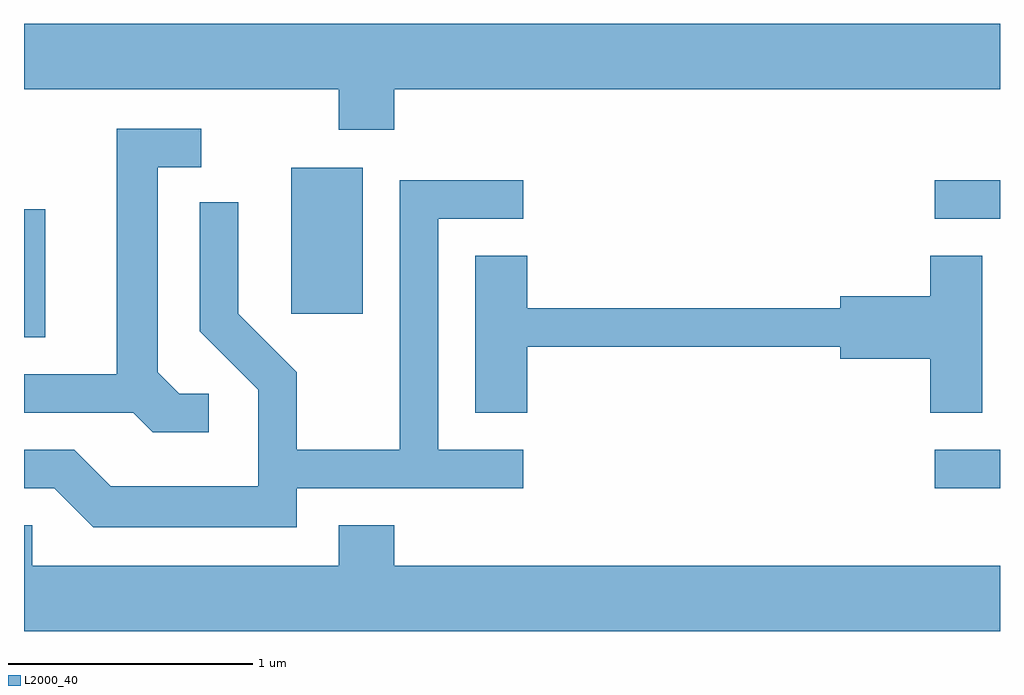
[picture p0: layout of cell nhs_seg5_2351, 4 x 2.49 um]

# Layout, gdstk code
import gdstk
lib = gdstk.Library(unit=1e-6, precision=1e-09)
def R(c, l, rs):  # rectangles x0, y0, x1, y1
    for r in rs: c.add(gdstk.rectangle(r[:2], r[2:], *l))
def P(c, l, *ps):  # polygons
    for p in ps: c.add(gdstk.Polygon(p, *l))
L2000_40 = (2000, 40)

nhs_seg5_2351 = lib.new_cell('nhs_seg5_2351')
R(nhs_seg5_2351, L2000_40, [(259.343,1412.981,259.611,1413.139), (255.611,1413.601,255.699,1414.124), (256.706,1413.696,256.999,1414.294), (259.343,1414.086,259.611,1414.244)])
P(nhs_seg5_2351, L2000_40, [(257.129,1414.616),(259.611,1414.616),(259.611,1414.884),(255.611,1414.884),(255.611,1414.616),(256.901,1414.616),(256.901,1414.451),(257.129,1414.451)],
  [(256.368,1413.369),(256.247,1413.369),(256.159,1413.457),(256.159,1414.296),(256.337,1414.296),(256.337,1414.454),(255.991,1414.454),(255.991,1413.449),(255.611,1413.449),(255.611,1413.291),(256.058,1413.291),(256.139,1413.211),(256.368,1413.211)],
  [(256.729,1412.981),(257.658,1412.981),(257.658,1413.139),(257.309,1413.139),(257.309,1414.086),(257.658,1414.086),(257.658,1414.244),(257.151,1414.244),(257.151,1413.139),(256.729,1413.139),(256.729,1413.457),(256.489,1413.697),(256.489,1414.153),(256.331,1414.153),(256.331,1413.624),(256.571,1413.384),(256.571,1412.989),(255.967,1412.989),(255.817,1413.139),(255.611,1413.139),(255.611,1412.981),(255.734,1412.981),(255.894,1412.821),(256.729,1412.821)],
  [(257.674,1413.561),(258.956,1413.561),(258.956,1413.511),(259.326,1413.511),(259.326,1413.291),(259.539,1413.291),(259.539,1413.934),(259.326,1413.934),(259.326,1413.769),(258.956,1413.769),(258.956,1413.719),(257.674,1413.719),(257.674,1413.934),(257.461,1413.934),(257.461,1413.291),(257.674,1413.291)],
  [(259.611,1412.664),(257.129,1412.664),(257.129,1412.829),(256.901,1412.829),(256.901,1412.664),(255.644,1412.664),(255.644,1412.829),(255.611,1412.829),(255.611,1412.396),(259.611,1412.396)])

lib.write_gds('nhs_seg5_2351.gds')
